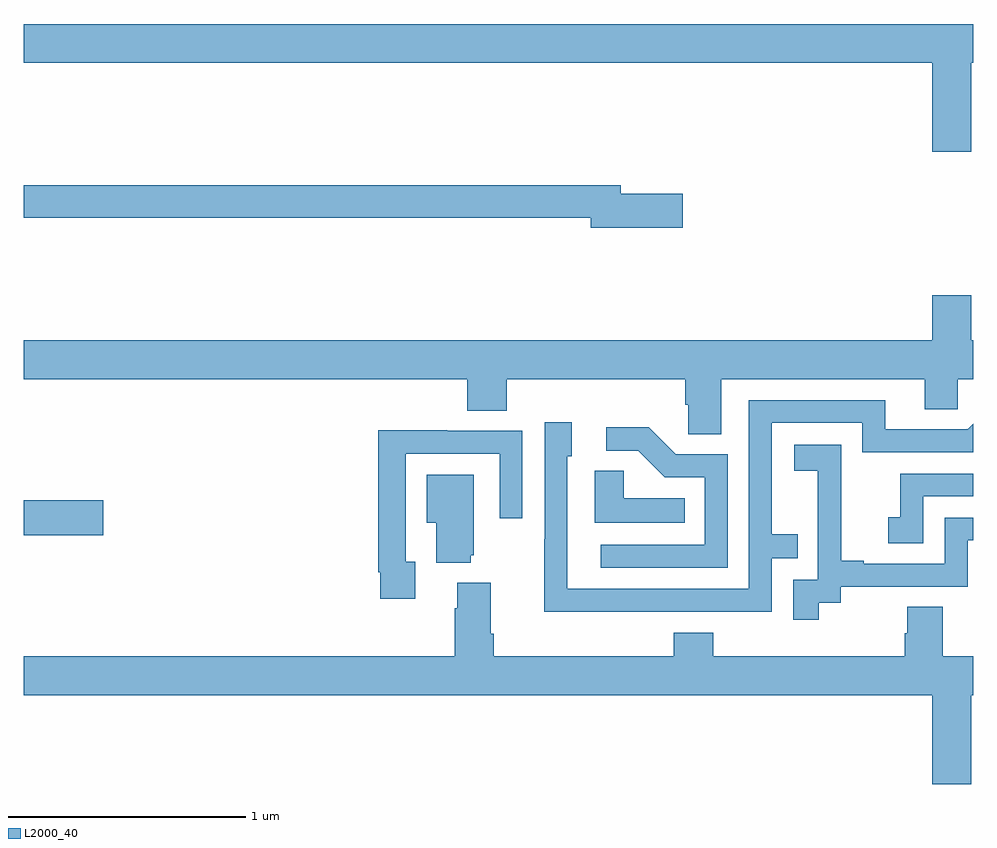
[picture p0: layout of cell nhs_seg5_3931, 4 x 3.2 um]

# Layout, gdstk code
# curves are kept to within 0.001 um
import gdstk
lib = gdstk.Library(unit=1e-6, precision=1e-09)
def R(c, l, rs):  # rectangles x0, y0, x1, y1
    for r in rs: c.add(gdstk.rectangle(r[:2], r[2:], *l))
def P(c, l, *ps):  # polygons
    for p in ps: c.add(gdstk.Polygon(p, *l))
L2000_40 = (2000, 40)

nhs_seg5_3931 = lib.new_cell('nhs_seg5_3931')
R(nhs_seg5_3931, L2000_40, [(341,904.055,341.335,904.202)])
P(nhs_seg5_3931, L2000_40, [(344.992,906.044),(345,906.044),(345,906.208),(341,906.208),(341,906.044),(344.828,906.044),(344.828,905.67),(344.992,905.67)],
  [(343.777,905.492),(343.516,905.492),(343.516,905.528),(341,905.528),(341,905.392),(343.388,905.392),(343.388,905.35),(343.777,905.35)],
  [(343.939,904.712),(344.795,904.712),(344.795,904.585),(344.934,904.585),(344.934,904.712),(345,904.712),(345,904.876),(344.992,904.876),(344.992,905.065),(344.828,905.065),(344.828,904.876),(341,904.876),(341,904.712),(342.869,904.712),(342.869,904.579),(343.034,904.579),(343.034,904.712),(343.787,904.712),(343.787,904.603),(343.8,904.603),(343.8,904.48),(343.939,904.48)],
  [(343.655,903.732),(344.151,903.732),(344.151,903.957),(344.261,903.957),(344.261,904.058),(344.151,904.058),(344.151,904.527),(344.532,904.527),(344.532,904.404),(345,904.404),(345,904.524),(344.976,904.5),(344.629,904.5),(344.629,904.623),(344.055,904.623),(344.055,903.828),(343.29,903.828),(343.29,904.386),(343.309,904.386),(343.309,904.531),(343.194,904.531),(343.194,904.037),(343.192,904.037),(343.192,903.731)],
  [(343.965,904.395),(343.746,904.395),(343.633,904.508),(343.455,904.508),(343.455,904.41),(343.589,904.41),(343.7,904.299),(343.869,904.299),(343.869,904.014),(343.431,904.014),(343.431,903.918),(343.965,903.918)],
  [(342.649,903.942),(342.609,903.942),(342.609,904.398),(343.005,904.398),(343.005,904.125),(343.101,904.125),(343.101,904.494),(342.785,904.494),(342.785,904.496),(342.493,904.496),(342.493,903.898),(342.501,903.898),(342.501,903.786),(342.649,903.786)],
  [(344.35,903.769),(344.442,903.769),(344.442,903.837),(344.976,903.837),(344.976,904.032),(345,904.032),(345,904.128),(344.88,904.128),(344.88,903.933),(344.539,903.933),(344.539,903.946),(344.444,903.946),(344.444,904.229),(344.445,904.229),(344.445,904.435),(344.247,904.435),(344.247,904.325),(344.345,904.325),(344.345,904.097),(344.346,904.097),(344.346,903.867),(344.241,903.867),(344.241,903.699),(344.35,903.699)],
  [(343.784,904.21),(343.527,904.21),(343.527,904.325),(343.406,904.325),(343.406,904.106),(343.784,904.106)],
  [(344.79,904.218),(345,904.218),(345,904.314),(344.692,904.314),(344.692,904.129),(344.643,904.129),(344.643,904.02),(344.79,904.02)],
  [(342.884,903.969),(342.895,903.969),(342.895,904.309),(342.698,904.309),(342.698,904.106),(342.737,904.106),(342.737,903.938),(342.884,903.938)],
  [(344.992,903.38),(345,903.38),(345,903.544),(344.871,903.544),(344.871,903.752),(344.723,903.752),(344.723,903.642),(344.711,903.642),(344.711,903.544),(343.904,903.544),(343.904,903.643),(343.739,903.643),(343.739,903.544),(342.98,903.544),(342.98,903.64),(342.967,903.64),(342.967,903.853),(342.827,903.853),(342.827,903.746),(342.815,903.746),(342.815,903.544),(341,903.544),(341,903.38),(344.828,903.38),(344.828,903.006),(344.992,903.006)])

lib.write_gds('nhs_seg5_3931.gds')
